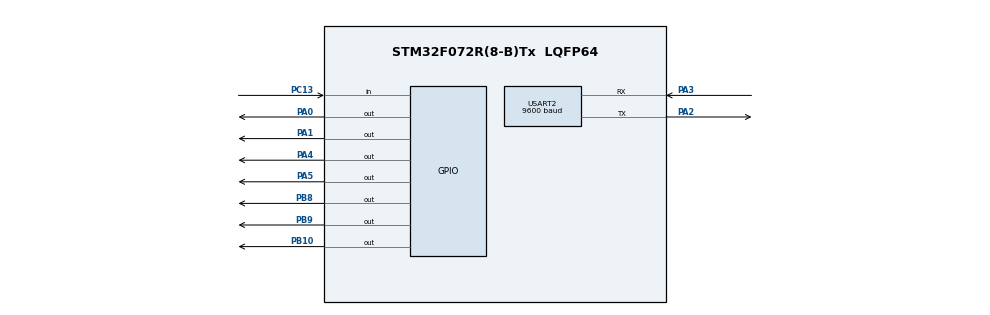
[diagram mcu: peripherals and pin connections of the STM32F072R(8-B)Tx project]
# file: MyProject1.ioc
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ADC.ClockPrescaler=ADC_CLOCK_SYNC_PCLK_DIV4
ADC.SamplingTime=ADC_SAMPLETIME_13CYCLES_5
Mcu.Family=STM32F0
Mcu.Name=STM32F072R(8-B)Tx
Mcu.Package=LQFP64
NVIC.TIM2_IRQn=true\:0\:0\:false\:false\:true\:true\:true\:true
PA0.Signal=GPIO_Output
PA1.Signal=GPIO_Output
PA13.Mode=Serial_Wire
PA13.Signal=SYS_SWDIO
PA14.Mode=Serial_Wire
PA14.Signal=SYS_SWCLK
PA2.Mode=Asynchronous
PA2.Signal=USART2_TX
PA3.Mode=Asynchronous
PA3.Signal=USART2_RX
PA4.Signal=GPIO_Output
PA5.Signal=GPIO_Output
PB10.Signal=GPIO_Output
PB8.Signal=GPIO_Output
PB9.Signal=GPIO_Output
PC13.GPIO_PuPd=GPIO_PULLUP
PC13.Signal=GPIO_Input
ProjectManager.HeapSize=0x200
ProjectManager.StackSize=0x400
ProjectManager.TargetToolchain=STM32CubeIDE
TIM2.Period=299
TIM2.Prescaler=479
USART2.BaudRate=9600
USART2.VirtualMode-Asynchronous=VM_ASYNC
VP_ADC_TempSens_Input.Mode=IN-TempSens
VP_TIM2_VS_ClockSourceINT.Mode=Internal
board=custom

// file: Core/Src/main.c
/* USER CODE BEGIN Header */
/**
  ******************************************************************************
  * @file           : main.c
  * @brief          : Main program body
  ******************************************************************************
  * @attention
  *
  * Copyright (c) 2026 STMicroelectronics.
  * All rights reserved.
  *
  * This software is licensed under terms that can be found in the LICENSE file
  * in the root directory of this software component.
  * If no LICENSE file comes with this software, it is provided AS-IS.
  *
  ******************************************************************************
  */
/* USER CODE END Header */
#include "main.h"
#include "adc.h"
#include "tim.h"
#include "usart.h"
#include "gpio.h"

/* USER CODE BEGIN Includes */
#include "stm32f0xx_ll_tim.h"
/* USER CODE END Includes */

/* USER CODE BEGIN PV */
extern volatile uint32_t msTicks;
uint16_t treshold = 1687;
uint16_t ADC_value = 0;
uint8_t state = '0';
#define HYSTERESIS 2      // запас в отсчётах АЦП (примерно 1,5 °C)

// ============================================================
// ТАБЛИЦА СЕГМЕНТОВ ДЛЯ ИНДИКАТОРА С ОБЩИМ АНОДОМ
// 0 = сегмент ГОРИТ, 1 = сегмент НЕ ГОРИТ
// Порядок битов: (dp) g f e d c b a
// ============================================================
const uint8_t segmentCodes[10] = {
    0b11000000, // 0
    0b11111001, // 1
    0b10100100, // 2
    0b10110000, // 3
    0b10011001, // 4
    0b10010010, // 5
    0b10000010, // 6
    0b11111000, // 7
    0b10000000, // 8
    0b10010000  // 9
};

// ============================================================
// ПИНЫ ДЛЯ РЕГИСТРА СДВИГА 74HC595
// ============================================================
#define SHIFT_PORT      GPIOA
#define SER_PIN         LL_GPIO_PIN_0   // Данные (SER / DS) - пин 14
#define SRCLK_PIN       LL_GPIO_PIN_1   // Такт сдвига (SRCLK / SHCP) - пин 11
#define RCLK_PIN        LL_GPIO_PIN_4   // Защелка (RCLK / STCP) - пин 12

// ============================================================
// ПИНЫ ДЛЯ УПРАВЛЕНИЯ ОБЩИМИ АНОДАМИ (ВЫБОР РАЗРЯДА)
// ============================================================
#define MUX_PORT        GPIOB
#define DIGIT_1_PIN     LL_GPIO_PIN_8   // Сотни
#define DIGIT_2_PIN     LL_GPIO_PIN_9   // Десятки
#define DIGIT_3_PIN     LL_GPIO_PIN_10  // Единицы

// Массив пинов для удобного перебора
const uint16_t digitPins[3] = {DIGIT_1_PIN, DIGIT_2_PIN, DIGIT_3_PIN};

// ============================================================
// ПЕРЕМЕННЫЕ ДЛЯ ДИНАМИЧЕСКОЙ ИНДИКАЦИИ
// ============================================================
volatile uint8_t displayDigits[3] = {0, 0, 0}; // [0] - сотни, [1] - десятки, [2] - единицы
volatile uint8_t currentDigit = 0;              // Какой разряд сейчас активен (0, 1 или 2)

// Флаг для синхронизации (опционально)
volatile uint8_t displayUpdated = 0;
/* USER CODE END PV */

void SystemClock_Config(void);
/* USER CODE BEGIN PFP */
void Error_Handler(void);
/* USER CODE END PFP */

/* USER CODE BEGIN 0 */
#include <stdio.h>

// ============================================================
// ОТПРАВКА ОДНОГО БАЙТА В РЕГИСТР СДВИГА 74HC595
// ============================================================
void sendByteToShiftRegister(uint8_t data)
{
    // Отправляем биты, начиная со старшего (бит 7)
    for (int i = 7; i >= 0; i--)
    {
        // 1. Устанавливаем бит данных
        if (data & (1 << i))
        {
            LL_GPIO_SetOutputPin(SHIFT_PORT, SER_PIN);   // HIGH
        }
        else
        {
            LL_GPIO_ResetOutputPin(SHIFT_PORT, SER_PIN); // LOW
        }

        // 2. Подаем тактовый импульс (сдвигаем бит)
        LL_GPIO_ResetOutputPin(SHIFT_PORT, SRCLK_PIN);
        // Небольшая задержка для стабильности (опционально)
        for (volatile int d = 0; d < 5; d++);
        LL_GPIO_SetOutputPin(SHIFT_PORT, SRCLK_PIN);
    }

    // 3. Защелкиваем данные (копируем на выходы)
    LL_GPIO_ResetOutputPin(SHIFT_PORT, RCLK_PIN);
    for (volatile int d = 0; d < 5; d++);
    LL_GPIO_SetOutputPin(SHIFT_PORT, RCLK_PIN);
}

// ============================================================
// УСТАНОВКА ЧИСЛА ДЛЯ ОТОБРАЖЕНИЯ НА ИНДИКАТОРЕ
// ============================================================
void setDisplayNumber(uint16_t number)
{
    if (number > 999) number = 999;

    displayDigits[0] = number / 100;          // Сотни
    displayDigits[1] = (number % 100) / 10;   // Десятки
    displayDigits[2] = number % 10;           // Единицы
}

// ============================================================
// ПЕРЕКЛЮЧЕНИЕ РАЗРЯДОВ (ВЫЗЫВАЕТСЯ ИЗ ПРЕРЫВАНИЯ)
// ============================================================
void switchDigit(void)
{
    // 1. Гасим все разряды (выключаем общие аноды) для PNP: HIGH = транзистор закрыт
    LL_GPIO_SetOutputPin(MUX_PORT, DIGIT_1_PIN | DIGIT_2_PIN | DIGIT_3_PIN);

    // 2. Отправляем код текущей цифры в регистр сдвига
    uint8_t code = segmentCodes[displayDigits[currentDigit]];
    // Если текущий разряд — десятки (индекс 1), включаем десятичную точку
        if (currentDigit == 1)
        {
            code &= ~0x80;  // Сбрасываем бит 7 (включаем точку, т.к. 0 = горит)
        }

    sendByteToShiftRegister(code);

    // 3. Включаем текущий разряд
    LL_GPIO_ResetOutputPin(MUX_PORT, digitPins[currentDigit]);

    // 4. Переходим к следующему разряду
    currentDigit++;
    if (currentDigit >= 3) currentDigit = 0;
}
/* USER CODE END 0 */

int main(void)
{

  /* USER CODE BEGIN 1 */
  uint16_t TS_CAL1 = *((uint16_t*)0x1FFFF7B8);
  uint16_t TS_CAL2 = *((uint16_t*)0x1FFFF7C2);
  float temperature_celsius;
  (void)temperature_celsius;
  /* USER CODE END 1 */

  /* MCU Configuration--------------------------------------------------------*/

  /* Reset of all peripherals, Initializes the Flash interface and the Systick. */
  LL_APB1_GRP2_EnableClock(LL_APB1_GRP2_PERIPH_SYSCFG);
  LL_APB1_GRP1_EnableClock(LL_APB1_GRP1_PERIPH_PWR);

  /* SysTick_IRQn interrupt configuration */
  NVIC_SetPriority(SysTick_IRQn, 3);

  /* Configure the system clock */
  SystemClock_Config();

  /* Initialize all configured peripherals */
  MX_GPIO_Init();
  MX_ADC_Init();
  MX_USART2_UART_Init();
  MX_TIM2_Init();
  /* USER CODE BEGIN 2 */
  uint32_t adcSum = 0, adcCnt = 0, lastUpdate = 0;
  LL_SYSTICK_EnableIT();      // разрешаем прерывание SysTick (msTicks++)
  LL_ADC_Enable(ADC1);                           //TODO: enable ADC
  while (LL_ADC_IsActiveFlag_ADRDY(ADC1) == 0) {} //wait for ADC "ready" flag

  // Запускаем таймер TIM2 в режиме прерываний с использованием LL
  LL_TIM_EnableIT_UPDATE(TIM2);   // Разрешаем прерывание по событию обновления
  LL_TIM_EnableCounter(TIM2);     // Запускаем счетчик таймера

  // Устанавливаем HIGH на пинах разрядов, все индикаторы погашены
  LL_GPIO_SetOutputPin(MUX_PORT, DIGIT_1_PIN | DIGIT_2_PIN | DIGIT_3_PIN);
  /* USER CODE END 2 */

  /* Infinite loop */
  while (1)
  {

    /* USER CODE BEGIN 3 */
	    /* USER CODE BEGIN 3 */
	    LL_ADC_REG_StartConversion(ADC1);
	    while (LL_ADC_IsActiveFlag_EOC(ADC1) == 0) {}
	    ADC_value = LL_ADC_REG_ReadConversionData12(ADC1);
	    adcSum += ADC_value;
	    adcCnt++;

	    if (msTicks - lastUpdate >= 500)       // раз в 500 мс
	    {
	      lastUpdate = msTicks;
	      float adcAvg = (float)adcSum / (float)adcCnt;
	      adcSum = 0; adcCnt = 0;

	      temperature_celsius = ((110.0f - 30.0f) * (adcAvg - TS_CAL1) / (TS_CAL2 - TS_CAL1)) + 30.0f;
	      if (temperature_celsius < 0.0f) temperature_celsius = 0.0f;
	      setDisplayNumber((uint16_t)(temperature_celsius * 10.0f));

	      // Сравнение с порогом с гистерезисом
	      if (adcAvg > (float)(treshold + HYSTERESIS))
	      {
	        LL_GPIO_SetOutputPin(GPIOA, LL_GPIO_PIN_5);
	        state = '1';
	      }
	      else if (adcAvg < (float)(treshold - HYSTERESIS))
	      {
	        LL_GPIO_ResetOutputPin(GPIOA, LL_GPIO_PIN_5);
	        state = '0';
	      }

	      // Отправка по кнопке (теперь тоже раз в 500 мс)
	      if (LL_GPIO_IsInputPinSet(GPIOC, LL_GPIO_PIN_13) == 0)
	      {
	        while (!LL_USART_IsActiveFlag_TXE(USART2)) {}
	        LL_USART_TransmitData8(USART2, state);
	        while (!LL_USART_IsActiveFlag_TXE(USART2)) {}
	        LL_USART_TransmitData8(USART2, '\r');
	        while (!LL_USART_IsActiveFlag_TXE(USART2)) {}
	        LL_USART_TransmitData8(USART2, '\n');
	      }
	    }
	    /* USER CODE END 3 */

  /* USER CODE END 3 */
}
}

void Error_Handler(void)
{
  __disable_irq();
  while (1)
  {
  }
}
void SystemClock_Config(void)
{
  LL_FLASH_SetLatency(LL_FLASH_LATENCY_0);
  while(LL_FLASH_GetLatency() != LL_FLASH_LATENCY_0)
  {
  }
  LL_RCC_HSI_Enable();

   /* Wait till HSI is ready */
  while(LL_RCC_HSI_IsReady() != 1)
  {

  }
  LL_RCC_HSI_SetCalibTrimming(16);
  LL_RCC_SetAHBPrescaler(LL_RCC_SYSCLK_DIV_1);
  LL_RCC_SetAPB1Prescaler(LL_RCC_APB1_DIV_1);
  LL_RCC_SetSysClkSource(LL_RCC_SYS_CLKSOURCE_HSI);

   /* Wait till System clock is ready */
  while(LL_RCC_GetSysClkSource() != LL_RCC_SYS_CLKSOURCE_STATUS_HSI)
  {

  }
  LL_Init1msTick(8000000);
  LL_SetSystemCoreClock(8000000);
  LL_RCC_SetUSARTClockSource(LL_RCC_USART2_CLKSOURCE_PCLK1);
}
